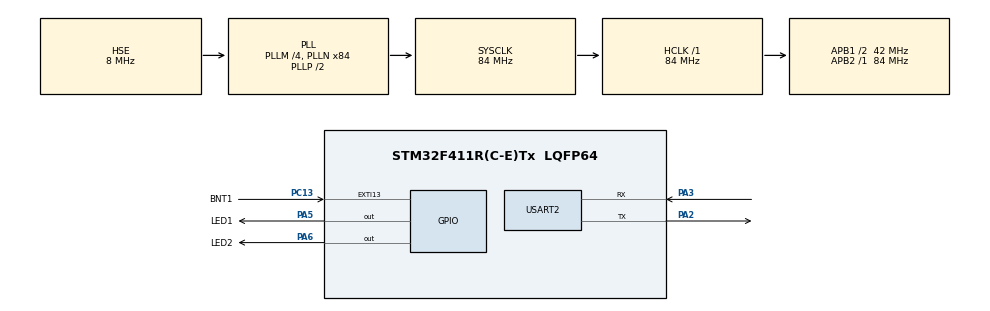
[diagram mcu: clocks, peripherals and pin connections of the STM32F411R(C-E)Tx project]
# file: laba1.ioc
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ADC1.Channel-0\#ChannelRegularConversion=ADC_CHANNEL_TEMPSENSOR
ADC1.NbrOfConversionFlag=1
ADC1.Rank-0\#ChannelRegularConversion=1
ADC1.SamplingTime-0\#ChannelRegularConversion=ADC_SAMPLETIME_3CYCLES
ADC1.master=1
Dma.Request0=USART2_RX
Dma.USART2_RX.0.Direction=DMA_PERIPH_TO_MEMORY
Dma.USART2_RX.0.FIFOMode=DMA_FIFOMODE_DISABLE
Dma.USART2_RX.0.Instance=DMA1_Stream5
Dma.USART2_RX.0.MemDataAlignment=DMA_MDATAALIGN_BYTE
Dma.USART2_RX.0.MemInc=DMA_MINC_ENABLE
Dma.USART2_RX.0.Mode=DMA_NORMAL
Dma.USART2_RX.0.PeriphDataAlignment=DMA_PDATAALIGN_BYTE
Dma.USART2_RX.0.PeriphInc=DMA_PINC_DISABLE
Dma.USART2_RX.0.Priority=DMA_PRIORITY_VERY_HIGH
Mcu.Family=STM32F4
Mcu.Name=STM32F411R(C-E)Tx
Mcu.Package=LQFP64
NVIC.DMA1_Stream5_IRQn=true\:0\:0\:false\:false\:true\:false\:true
NVIC.EXTI15_10_IRQn=true\:0\:0\:false\:false\:true\:true\:true
NVIC.PriorityGroup=NVIC_PRIORITYGROUP_0
NVIC.TIM1_UP_TIM10_IRQn=true\:0\:0\:false\:false\:true\:false\:true
NVIC.TimeBase=TIM1_UP_TIM10_IRQn
NVIC.TimeBaseIP=TIM1
NVIC.USART2_IRQn=true\:0\:0\:false\:false\:true\:true\:true
PA2.Mode=Asynchronous
PA2.Signal=USART2_TX
PA3.Mode=Asynchronous
PA3.Signal=USART2_RX
PA5.GPIO_Label=LED1
PA5.Signal=GPIO_Output
PA6.GPIO_Label=LED2
PA6.GPIO_Speed=GPIO_SPEED_FREQ_LOW
PA6.Signal=GPIO_Output
PC13-ANTI_TAMP.GPIO_Label=BNT1
PC13-ANTI_TAMP.Signal=GPXTI13
PH0\ -\ OSC_IN.Mode=HSE-External-Oscillator
PH0\ -\ OSC_IN.Signal=RCC_OSC_IN
PH1\ -\ OSC_OUT.Mode=HSE-External-Oscillator
PH1\ -\ OSC_OUT.Signal=RCC_OSC_OUT
ProjectManager.HeapSize=0x200
ProjectManager.StackSize=0x400
ProjectManager.TargetToolchain=STM32CubeIDE
RCC.48MHZClocksFreq_Value=42000000
RCC.AHBFreq_Value=84000000
RCC.APB1CLKDivider=RCC_HCLK_DIV2
RCC.APB1Freq_Value=42000000
RCC.APB1TimFreq_Value=84000000
RCC.APB2Freq_Value=84000000
RCC.APB2TimFreq_Value=84000000
RCC.CortexFreq_Value=84000000
RCC.FLatency-AdvancedSettings=FLASH_LATENCY_2
RCC.HCLKFreq_Value=84000000
RCC.HSE_VALUE=8000000
RCC.HSI_VALUE=16000000
RCC.LSE_VALUE=32768
RCC.PLLM=4
RCC.PLLN=84
RCC.PLLSourceVirtual=RCC_PLLSOURCE_HSE
RCC.SYSCLKFreq_VALUE=84000000
RCC.SYSCLKSource=RCC_SYSCLKSOURCE_PLLCLK
RCC.VCOOutputFreq_Value=168000000
USART2.VirtualMode=VM_ASYNC
VP_ADC1_TempSens_Input.Mode=IN-TempSens
VP_ADC1_Vref_Input.Mode=IN-Vrefint
VP_SYS_VS_tim1.Mode=TIM1
board=NUCLEO-F411RE

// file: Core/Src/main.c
/* USER CODE BEGIN Header */
/**
  ******************************************************************************
  * @file           : main.c
  * @brief          : Main program body
  ******************************************************************************
  * @attention
  *
  * <h2><center>&copy; Copyright (c) 2021 STMicroelectronics.
  * All rights reserved.</center></h2>
  *
  * This software component is licensed by ST under BSD 3-Clause license,
  * the "License"; You may not use this file except in compliance with the
  * License. You may obtain a copy of the License at:
  *                        opensource.org/licenses/BSD-3-Clause
  *
  ******************************************************************************
  */
/* USER CODE END Header */
#include "main.h"
#include "adc.h"
#include "dma.h"
#include "usart.h"
#include "gpio.h"

/* USER CODE BEGIN Includes */
#include <stdio.h>

#include <string.h>
/* USER CODE END Includes */

/* USER CODE BEGIN PD */
#define Buff_Size 256
/* USER CODE END PD */

/* USER CODE BEGIN PV */
uint8_t flashing = 0;
GPIO_PinState led1_flag, led2_flag;
uint8_t Receive_buff[Buff_Size];
uint8_t UART_Message = 0;

ADC_ChannelConfTypeDef sConfig =
{ 0 };

extern DMA_HandleTypeDef hdma_usart2_rx;
extern ADC_HandleTypeDef hadc1;
/* USER CODE END PV */

void SystemClock_Config(void);
/* USER CODE BEGIN PFP */
void UART_IRQHandler(UART_HandleTypeDef *huart);
void UART_IDLECallback(UART_HandleTypeDef *huart);
/* USER CODE END PFP */

int main(void)
{
  /* USER CODE BEGIN 1 */
	char buf[150];
  /* USER CODE END 1 */

  /* MCU Configuration--------------------------------------------------------*/

  /* Reset of all peripherals, Initializes the Flash interface and the Systick. */
  HAL_Init();

  /* Configure the system clock */
  SystemClock_Config();

  /* Initialize all configured peripherals */
  MX_GPIO_Init();
  MX_DMA_Init();
  MX_USART2_UART_Init();
  MX_ADC1_Init();
  /* USER CODE BEGIN 2 */
	__HAL_UART_ENABLE_IT(&huart2, UART_IT_IDLE);
	HAL_UART_Receive_DMA(&huart2, Receive_buff, Buff_Size - 1);
	sprintf(buf, "Enter command!\r\n");
	HAL_UART_Transmit(&huart2, (uint8_t*) buf, 15, 0xFFFFFFFF);
  /* USER CODE END 2 */

  /* Infinite loop */
  /* USER CODE BEGIN WHILE */
  while (1)
  {
	  if (UART_Message)
	  		{
	  			uint8_t str_len = Buff_Size - __HAL_DMA_GET_COUNTER(&hdma_usart2_rx);
	  			HAL_UART_Receive_DMA(&huart2, Receive_buff, Buff_Size - 1);
	  			memset(Receive_buff + str_len - 1, 0, Buff_Size - str_len);
	  			UART_Message = 0;
	  			if ((Receive_buff[0] == 't' || Receive_buff[0] == 'T')
	  					&& Receive_buff[1] == ' '
	  					&& (Receive_buff[2] == 'm' || Receive_buff[2] == 'M')
	  					&& (Receive_buff[3] == 'c' || Receive_buff[3] == 'C')
	  					&& (Receive_buff[4] == 'u' || Receive_buff[4] == 'U')
	  					&& Receive_buff[5] == '?')
	  			{

	  				sConfig.Channel = ADC_CHANNEL_16;
	  				sConfig.Rank = 1;
	  				sConfig.SamplingTime = ADC_SAMPLETIME_3CYCLES;
	  				HAL_ADC_ConfigChannel(&hadc1, &sConfig);

	  				HAL_ADC_Start(&hadc1);
	  				HAL_ADC_PollForConversion(&hadc1, 0xFFFFFFFF);
	  				uint16_t val = HAL_ADC_GetValue(&hadc1);
	  				float temp;
	  				temp = (float) val / 4096 * 3.3f;
	  				temp = (1.43f - temp) / 4.3f + 25;
	  				HAL_ADC_Stop(&hadc1);
	  				char responseTemp[12];
	  				sprintf(responseTemp, "T MCU=%dC\r\n", (int) temp);
	  				HAL_UART_Transmit(&huart2, (uint8_t*) responseTemp, strlen(responseTemp), 0xFFFFFFFF);
	  			}
	  			else if ((Receive_buff[0] == 'v' || Receive_buff[0] == 'V')
	  					&& Receive_buff[1] == ' '
	  					&& (Receive_buff[2] == 'r' || Receive_buff[2] == 'R')
	  					&& (Receive_buff[3] == 'e' || Receive_buff[3] == 'E')
	  					&& (Receive_buff[4] == 'f' || Receive_buff[4] == 'F')
	  					&& Receive_buff[5] == '?')
	  			{
	  				sConfig.Channel = ADC_CHANNEL_VREFINT;
	  				sConfig.Rank = 1;
	  				sConfig.SamplingTime = ADC_SAMPLETIME_3CYCLES;
	  				HAL_ADC_ConfigChannel(&hadc1, &sConfig);

	  				HAL_ADC_Start(&hadc1);
	  				HAL_ADC_PollForConversion(&hadc1, 0xFFFFFFFF);
	  				uint16_t val = HAL_ADC_GetValue(&hadc1);
	  				float vref = 3.3f*val/4096.0f;
	  				HAL_ADC_Stop(&hadc1);
	  				char responseV[20];
	  				sprintf(responseV, "V REF=%.2f V\r\n", vref);
	  				HAL_UART_Transmit(&huart2, (uint8_t*) responseV, strlen(responseV), 0xFFFFFFFF);
	  			}
	  			else if ((Receive_buff[0] == 'a' || Receive_buff[0] == 'A')
	  					&& (Receive_buff[1] == 'l' || Receive_buff[1] == 'L')
	  					&& (Receive_buff[2] == 'l' || Receive_buff[2] == 'L')
	  					&& Receive_buff[3] == ' '
	  					&& (Receive_buff[4] == 's' || Receive_buff[4] == 'S')
	  					&& (Receive_buff[5] == 'e' || Receive_buff[5] == 'E')
	  					&& (Receive_buff[6] == 'n' || Receive_buff[6] == 'N')
	  					&& (Receive_buff[7] == 's' || Receive_buff[7] == 'S')
	  					&& (Receive_buff[8] == 'e' || Receive_buff[8] == 'E')
	  					&& Receive_buff[9] == '?')
	  			{
	  				sConfig.Channel = ADC_CHANNEL_16;
	  				sConfig.Rank = 1;
	  				sConfig.SamplingTime = ADC_SAMPLETIME_3CYCLES;
	  				HAL_ADC_ConfigChannel(&hadc1, &sConfig);

	  				HAL_ADC_Start(&hadc1);
	  				HAL_ADC_PollForConversion(&hadc1, 0xFFFFFFFF);
	  				uint16_t val = HAL_ADC_GetValue(&hadc1);
	  				float temp;
	  				temp = (float) val / 4096 * 3.3f;
	  				temp = (1.43f - temp) / 4.3f + 25;
	  				HAL_ADC_Stop(&hadc1);
	  				char responseTemp[12];
	  				sprintf(responseTemp, "T MCU=%dC\r\n", (int) temp);
	  				HAL_UART_Transmit(&huart2, (uint8_t*) responseTemp, strlen(responseTemp), 0xFFFFFFFF);

	  				sConfig.Channel = ADC_CHANNEL_VREFINT;
	  				sConfig.Rank = 1;
	  				sConfig.SamplingTime = ADC_SAMPLETIME_3CYCLES;
	  				HAL_ADC_ConfigChannel(&hadc1, &sConfig);

	  				HAL_ADC_Start(&hadc1);
	  				HAL_ADC_PollForConversion(&hadc1, 0xFFFFFFFF);
	  				uint16_t vVal = HAL_ADC_GetValue(&hadc1);
	  				float vref = 3.3f*vVal/4096.0f;
	  				HAL_ADC_Stop(&hadc1);
	  				char responseV[20];
	  				sprintf(responseV, "V REF=%.2f V\r\n", vref);
	  				HAL_UART_Transmit(&huart2, (uint8_t*) responseV, strlen(responseV), 0xFFFFFFFF);
	  			}
	  			else
	  			{
	  				HAL_UART_Transmit(&huart2, (uint8_t*) "Wrong command\r",
	  						strlen("Wrong command\n"), 0xFFFFFFFF);
	  			}
	  		}

	  	  	if (flashing%2 == 0)
	  	  	{
				HAL_GPIO_WritePin(LED1_GPIO_Port, LED1_Pin, GPIO_PIN_SET); led1_flag = GPIO_PIN_SET;
				HAL_GPIO_WritePin(LED2_GPIO_Port, LED2_Pin, GPIO_PIN_RESET); led2_flag = GPIO_PIN_RESET;
				HAL_Delay(250);
	  	  	}
	  	  	if (flashing%2 == 0)
	  	  	{
				HAL_GPIO_WritePin(LED1_GPIO_Port, LED1_Pin, GPIO_PIN_SET); led1_flag = GPIO_PIN_SET;
				HAL_GPIO_WritePin(LED2_GPIO_Port, LED2_Pin, GPIO_PIN_SET); led2_flag = GPIO_PIN_SET;
				HAL_Delay(250);
	  	  	}
	  	  	if (flashing%2 == 0)
	  	  	{
				HAL_GPIO_WritePin(LED1_GPIO_Port, LED1_Pin, GPIO_PIN_RESET); led1_flag = GPIO_PIN_RESET;
				HAL_GPIO_WritePin(LED2_GPIO_Port, LED2_Pin, GPIO_PIN_SET); led2_flag = GPIO_PIN_SET;
				HAL_Delay(250);
	  	  	}
	  	  	if (flashing%2 == 0)
	  	  	{
				HAL_GPIO_WritePin(LED1_GPIO_Port, LED1_Pin, GPIO_PIN_RESET); led1_flag = GPIO_PIN_RESET;
				HAL_GPIO_WritePin(LED2_GPIO_Port, LED2_Pin, GPIO_PIN_RESET); led2_flag = GPIO_PIN_RESET;
				HAL_Delay(250);
	  	  	}
	  		if (flashing%2 == 1)
	  		{
	  			HAL_GPIO_WritePin(LED1_GPIO_Port, LED1_Pin, led1_flag);
	  			HAL_GPIO_WritePin(LED2_GPIO_Port, LED2_Pin, led2_flag);
	  		}
    /* USER CODE END WHILE */

  }
}

void SystemClock_Config(void)
{
  RCC_OscInitTypeDef RCC_OscInitStruct = {0};
  RCC_ClkInitTypeDef RCC_ClkInitStruct = {0};

  /** Configure the main internal regulator output voltage
  */
  __HAL_RCC_PWR_CLK_ENABLE();
  __HAL_PWR_VOLTAGESCALING_CONFIG(PWR_REGULATOR_VOLTAGE_SCALE1);
  /** Initializes the RCC Oscillators according to the specified parameters
  * in the RCC_OscInitTypeDef structure.
  */
  RCC_OscInitStruct.OscillatorType = RCC_OSCILLATORTYPE_HSE;
  RCC_OscInitStruct.HSEState = RCC_HSE_ON;
  RCC_OscInitStruct.PLL.PLLState = RCC_PLL_ON;
  RCC_OscInitStruct.PLL.PLLSource = RCC_PLLSOURCE_HSE;
  RCC_OscInitStruct.PLL.PLLM = 4;
  RCC_OscInitStruct.PLL.PLLN = 84;
  RCC_OscInitStruct.PLL.PLLP = RCC_PLLP_DIV2;
  RCC_OscInitStruct.PLL.PLLQ = 4;
  if (HAL_RCC_OscConfig(&RCC_OscInitStruct) != HAL_OK)
  {
    Error_Handler();
  }
  /** Initializes the CPU, AHB and APB buses clocks
  */
  RCC_ClkInitStruct.ClockType = RCC_CLOCKTYPE_HCLK|RCC_CLOCKTYPE_SYSCLK
                              |RCC_CLOCKTYPE_PCLK1|RCC_CLOCKTYPE_PCLK2;
  RCC_ClkInitStruct.SYSCLKSource = RCC_SYSCLKSOURCE_PLLCLK;
  RCC_ClkInitStruct.AHBCLKDivider = RCC_SYSCLK_DIV1;
  RCC_ClkInitStruct.APB1CLKDivider = RCC_HCLK_DIV2;
  RCC_ClkInitStruct.APB2CLKDivider = RCC_HCLK_DIV1;

  if (HAL_RCC_ClockConfig(&RCC_ClkInitStruct, FLASH_LATENCY_2) != HAL_OK)
  {
    Error_Handler();
  }
}

/* USER CODE BEGIN 4 */
void UART_IRQHandler(UART_HandleTypeDef *huart)
{
	if (RESET != __HAL_UART_GET_FLAG(huart, UART_FLAG_IDLE))
	{
		__HAL_UART_CLEAR_IDLEFLAG(huart);
		UART_IDLECallback(huart);
	}
}

void UART_IDLECallback(UART_HandleTypeDef *huart)
{
	HAL_UART_DMAStop(huart);
	UART_Message = 1;
}
void HAL_GPIO_EXTI_Callback(uint16_t GPIO_Pin)
{
	if (GPIO_Pin == GPIO_PIN_13)
	{
		flashing++;
	}
}
/* USER CODE END 4 */

void HAL_TIM_PeriodElapsedCallback(TIM_HandleTypeDef *htim)
{
  if (htim->Instance == TIM1) {
    HAL_IncTick();
  }
}

void Error_Handler(void)
{
  __disable_irq();
  while (1)
  {
  }
}
